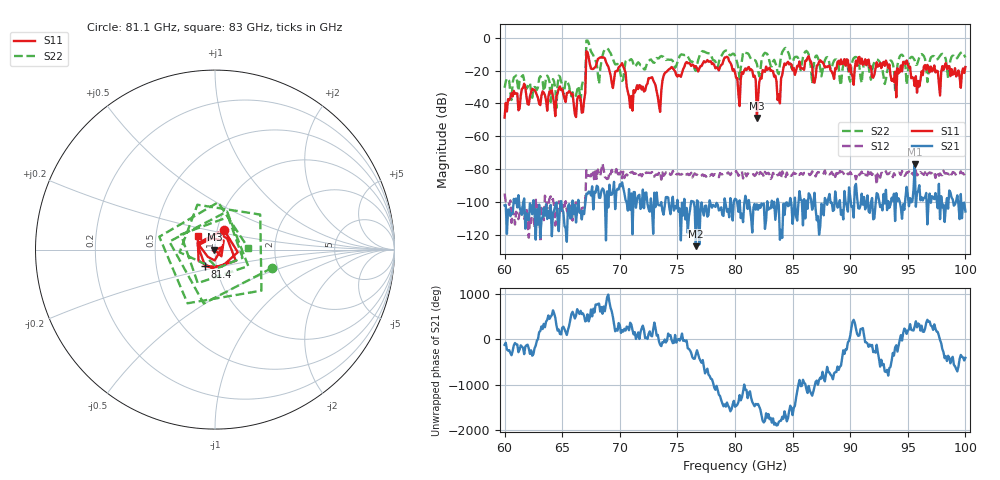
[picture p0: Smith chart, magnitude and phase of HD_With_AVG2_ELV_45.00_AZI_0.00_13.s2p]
! 11/25/2026 10:16:15 AM
! C:\ANRITSUVNA\TEMP\TEMP.S2P
! CHANNEL.1
! TR.MEASUREMENT
! RAW.DATA
# HZ S RI R 50.0
! FREQ.HZ  S11RE  S11IM  S21RE  S21IM  S12RE  S12IM  S22RE  S22IM
!; PortSelection: Port_12
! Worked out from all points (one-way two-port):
!   401 points, 60 GHz to 100 GHz, reference 50 ohm
!   highest |S21| = -77.24 dB at 95.6 GHz (marker M1); lowest = -127.0 dB at 76.6 GHz (marker M2)
!   lowest |S11| = -48.9 dB at 81.9 GHz (marker M3), VSWR 1.01, Z = 49.6 + j0.0518 ohm
!   |S11| at or under -10 dB: start of sweep to 67.09 GHz; 67.23 GHz to end of sweep
!   |S22| runs from -42.8 to -1.7 dB; largest |S21 - S12| = 0.00023
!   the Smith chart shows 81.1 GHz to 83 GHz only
!   S11 on the Smith chart (normalised r, x): 81.1 GHz: 1.08, +0.24; 81.4 GHz: 0.88, -0.17; 83 GHz: 0.82, +0.12
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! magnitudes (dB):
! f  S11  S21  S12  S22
! 60 GHz  -48.6  -102.1  -94.9  -30.5
! 61.6 GHz  -30.6  -100.7  -101.3  -22.8
! 66.7 GHz  -45.7  -110.7  -103.8  -29.5
! 67.3 GHz  -12.1  -93.8  -83.7  -3.2
! 68.4 GHz  -11.8  -93.4  -80.5  -14.7
! 70.3 GHz  -17.5  -91.5  -81.6  -25.5
! 70.9 GHz  -42.6  -104.9  -82.4  -13.5
! 72.7 GHz  -24.4  -97.9  -82.4  -13.3
! 73.4 GHz  -41.2  -102.1  -82.4  -12.6
! 74.3 GHz  -19.1  -103.8  -82.6  -13.5
! 76.6 GHz  -17.3  -127.0  -83.4  -20.3
! 80 GHz  -21.2  -98.1  -82.1  -11.1
! 81.1 GHz  -18.4  -104.3  -82.6  -9.5
! 81.4 GHz  -19.3  -109.8  -83.8  -13.0
! 81.9 GHz  -48.9  -101.5  -82.3  -15.9
! 83 GHz  -18.3  -103.7  -83.4  -14.6
! 83.8 GHz  -34.5  -101.9  -83.5  -22.3
! 84.5 GHz  -15.5  -100.3  -82.1  -7.0
! 86.7 GHz  -17.5  -104.8  -81.4  -28.0
! 93.4 GHz  -16.3  -103.6  -82.6  -15.6
! 95.6 GHz  -29.5  -77.2  -79.6  -13.7
! 100 GHz  -17.9  -105.9  -84.8  -12.1
